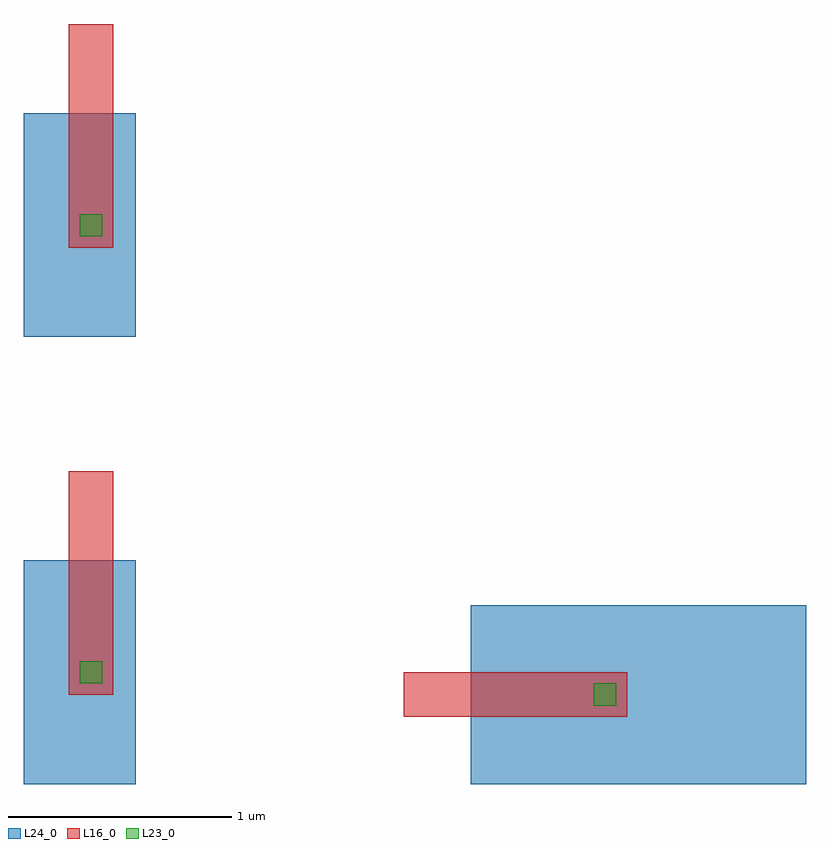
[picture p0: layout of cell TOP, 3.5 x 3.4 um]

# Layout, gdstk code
from math import pi, radians
import gdstk
lib = gdstk.Library(unit=1e-6, precision=1e-09)
def R(c, l, rs):  # rectangles x0, y0, x1, y1
    for r in rs: c.add(gdstk.rectangle(r[:2], r[2:], *l))
L16_0 = (16, 0)
L23_0 = (23, 0)
L24_0 = (24, 0)

c_a = lib.new_cell('A')
R(c_a, L16_0, [(0,0,0.2,1)])
R(c_a, L23_0, [(0.05,0.05,0.15,0.15)])

pd_2 = lib.new_cell('PD$2')
R(pd_2, L24_0, [(0,0,1.5,0.8)])
pd_2.add(gdstk.Reference(c_a, (0.7,0.3), rotation=pi/2))

c_pd = lib.new_cell('PD')
R(c_pd, L24_0, [(0,0,0.5,1)])
c_pd.add(gdstk.Reference(c_a, (0.2,0.4)))

top = lib.new_cell('TOP')
top.add(gdstk.Reference(pd_2, (2,0)))
top.add(gdstk.Reference(c_pd, (0,0)))
top.add(gdstk.Reference(c_pd, (0,2)))

lib.write_gds('TOP.gds')
